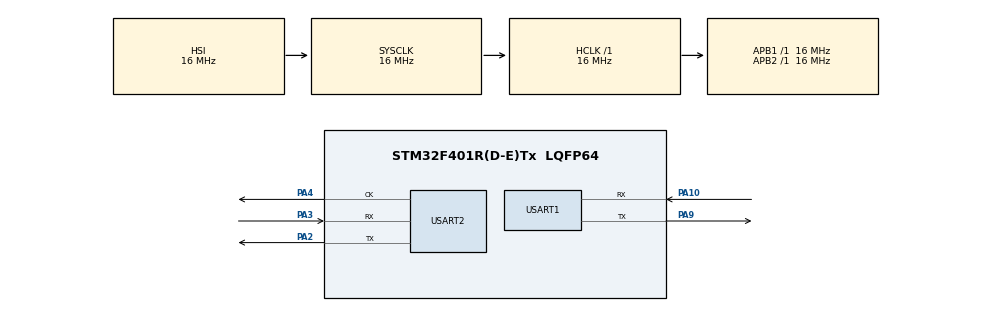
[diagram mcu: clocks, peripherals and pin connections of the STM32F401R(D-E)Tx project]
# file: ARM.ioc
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Dma.Request0=USART1_RX
Dma.Request1=USART1_TX
Dma.USART1_RX.0.Direction=DMA_PERIPH_TO_MEMORY
Dma.USART1_RX.0.FIFOMode=DMA_FIFOMODE_DISABLE
Dma.USART1_RX.0.Instance=DMA2_Stream2
Dma.USART1_RX.0.MemDataAlignment=DMA_MDATAALIGN_BYTE
Dma.USART1_RX.0.MemInc=DMA_MINC_ENABLE
Dma.USART1_RX.0.Mode=DMA_NORMAL
Dma.USART1_RX.0.PeriphDataAlignment=DMA_PDATAALIGN_BYTE
Dma.USART1_RX.0.PeriphInc=DMA_PINC_DISABLE
Dma.USART1_RX.0.Priority=DMA_PRIORITY_LOW
Dma.USART1_TX.1.Direction=DMA_MEMORY_TO_PERIPH
Dma.USART1_TX.1.FIFOMode=DMA_FIFOMODE_DISABLE
Dma.USART1_TX.1.Instance=DMA2_Stream7
Dma.USART1_TX.1.MemDataAlignment=DMA_MDATAALIGN_BYTE
Dma.USART1_TX.1.MemInc=DMA_MINC_ENABLE
Dma.USART1_TX.1.Mode=DMA_NORMAL
Dma.USART1_TX.1.PeriphDataAlignment=DMA_PDATAALIGN_BYTE
Dma.USART1_TX.1.PeriphInc=DMA_PINC_DISABLE
Dma.USART1_TX.1.Priority=DMA_PRIORITY_LOW
Mcu.Family=STM32F4
Mcu.Name=STM32F401R(D-E)Tx
Mcu.Package=LQFP64
NVIC.DMA2_Stream2_IRQn=true\:0\:0\:false\:false\:true\:false\:true
NVIC.DMA2_Stream7_IRQn=true\:0\:0\:false\:false\:true\:false\:true
NVIC.PriorityGroup=NVIC_PRIORITYGROUP_4
NVIC.USART1_IRQn=true\:0\:0\:false\:false\:true\:true\:true
PA10.Mode=Asynchronous
PA10.Signal=USART1_RX
PA2.Mode=Synchronous
PA2.Signal=USART2_TX
PA3.Mode=Synchronous
PA3.Signal=USART2_RX
PA4.Mode=Synchronous
PA4.Signal=USART2_CK
PA9.Mode=Asynchronous
PA9.Signal=USART1_TX
ProjectManager.HeapSize=0x200
ProjectManager.StackSize=0x400
ProjectManager.TargetToolchain=STM32CubeIDE
RCC.AHBFreq_Value=16000000
RCC.APB1Freq_Value=16000000
RCC.APB2Freq_Value=16000000
RCC.CortexFreq_Value=16000000
RCC.HSE_VALUE=25000000
RCC.HSI_VALUE=16000000
RCC.LSE_VALUE=32768
RCC.SYSCLKFreq_VALUE=16000000
RCC.VCOOutputFreq_Value=192000000
USART1.VirtualMode=VM_ASYNC
USART2.VirtualMode=VM_SYNC
board=custom

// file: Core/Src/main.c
/* USER CODE BEGIN Header */
/**
 ******************************************************************************
 * @file                     : main.c
 * @brief                    : Main program body
 ******************************************************************************
 * @attention
 *
 * <h2><center>&copy; Copyright (c) 2020 STMicroelectronics.
 * All rights reserved.</center></h2>
 *
 * This software component is licensed by ST under BSD 3-Clause license,
 * the "License"; You may not use this file except in compliance with the
 * License. You may obtain a copy of the License at:
 *                                                opensource.org/licenses/BSD-3-Clause
 *
 ******************************************************************************
 */
/* USER CODE END Header */
#include "main.h"

/* USER CODE BEGIN PD */
# define PROGRAM_RAM 0x20000000
# define PROGRAM_FLASH 0x8004000
# define PROGRAM_HASH_SIZE 256
/* USER CODE END PD */

UART_HandleTypeDef huart1;
USART_HandleTypeDef husart2;
DMA_HandleTypeDef hdma_usart1_rx;
DMA_HandleTypeDef hdma_usart1_tx;

void SystemClock_Config(void);
static void MX_GPIO_Init(void);
static void MX_DMA_Init(void);
static void MX_USART1_UART_Init(void);
static void MX_USART2_Init(void);

/* USER CODE BEGIN 0 */
int sending;
void HAL_UART_TxCpltCallback(UART_HandleTypeDef *huart)
{
	sending = 0;
}

/// State of bootlader State Machine
unsigned task;
void HAL_UART_RxCpltCallback(UART_HandleTypeDef *huart)
{
	task++;
}
/* USER CODE END 0 */

int main(void)
{

  /* MCU Configuration--------------------------------------------------------*/

  /* Reset of all peripherals, Initializes the Flash interface and the Systick. */
  HAL_Init();

  /* Configure the system clock */
  SystemClock_Config();

  /* Initialize all configured peripherals */
  MX_GPIO_Init();
  MX_DMA_Init();
  MX_USART1_UART_Init();
  MX_USART2_Init();

  /* Infinite loop */
  /* USER CODE BEGIN WHILE */
    while (1)
    {
    	// Reinit DMA State Machine
    	task = 0;

    	// Receive and write the program
        unsigned size;
        HAL_UART_Receive_DMA(&huart1, (unsigned char*) &size, sizeof(unsigned));
        while (task == 0);

        // Dump the program in ram
        unsigned* program_ram = (unsigned*) PROGRAM_RAM;
        HAL_UART_Receive_DMA(&huart1, (unsigned char*) program_ram, size);
        while (task == 1);

        unsigned char program_hash[PROGRAM_HASH_SIZE];
        HAL_UART_Receive_DMA(&huart1, program_hash, PROGRAM_HASH_SIZE);
        while (task == 2);

        unsigned crc;
        HAL_UART_Receive_DMA(&huart1, (unsigned char*) &crc, sizeof(unsigned));
        while (task == 3);

        // TODO: Check CRC

        // TODO: Check HASH

        // Write code in the flash
        unsigned program_flash = PROGRAM_FLASH;
        HAL_FLASH_Unlock();

        uint32_t err;
        FLASH_EraseInitTypeDef FLASH_Erase =
        {
        	.TypeErase = FLASH_TYPEERASE_SECTORS,
			.Sector = FLASH_SECTOR_2,
			.NbSectors = 2,
			.VoltageRange = FLASH_VOLTAGE_RANGE_3
        };
        HAL_FLASHEx_Erase(&FLASH_Erase, &err);
		while (FLASH->SR & FLASH_SR_BSY);
    	// Check for error ?

        for (int i = 0; i < size / sizeof(unsigned); i++)
        	HAL_FLASH_Program(FLASH_TYPEPROGRAM_WORD,
        					  program_flash + i * sizeof(unsigned),
							  program_ram[i]);
        HAL_FLASH_Lock();

        // Deactivate interruptions
        __disable_irq();

        // Deinit peripherals (TODO: forgot any ?)
        HAL_UART_DeInit(&huart1);
        HAL_USART_DeInit(&husart2);

        // Set Interruption Table (VTOR)
        SCB->VTOR = PROGRAM_FLASH;

        void (*program)(void);
        program = (void (*)(void)) PROGRAM_FLASH;

        // Set stack pointer
        __set_MSP(0);

        // Jump on the program
        program();

    /* USER CODE END WHILE */

    }
}

void SystemClock_Config(void)
{
  RCC_OscInitTypeDef RCC_OscInitStruct = {0};
  RCC_ClkInitTypeDef RCC_ClkInitStruct = {0};

  /** Configure the main internal regulator output voltage
  */
  __HAL_RCC_PWR_CLK_ENABLE();
  __HAL_PWR_VOLTAGESCALING_CONFIG(PWR_REGULATOR_VOLTAGE_SCALE2);
  /** Initializes the RCC Oscillators according to the specified parameters
  * in the RCC_OscInitTypeDef structure.
  */
  RCC_OscInitStruct.OscillatorType = RCC_OSCILLATORTYPE_HSI;
  RCC_OscInitStruct.HSIState = RCC_HSI_ON;
  RCC_OscInitStruct.HSICalibrationValue = RCC_HSICALIBRATION_DEFAULT;
  RCC_OscInitStruct.PLL.PLLState = RCC_PLL_NONE;
  if (HAL_RCC_OscConfig(&RCC_OscInitStruct) != HAL_OK)
  {
    Error_Handler();
  }
  /** Initializes the CPU, AHB and APB buses clocks
  */
  RCC_ClkInitStruct.ClockType = RCC_CLOCKTYPE_HCLK|RCC_CLOCKTYPE_SYSCLK
                              |RCC_CLOCKTYPE_PCLK1|RCC_CLOCKTYPE_PCLK2;
  RCC_ClkInitStruct.SYSCLKSource = RCC_SYSCLKSOURCE_HSI;
  RCC_ClkInitStruct.AHBCLKDivider = RCC_SYSCLK_DIV1;
  RCC_ClkInitStruct.APB1CLKDivider = RCC_HCLK_DIV1;
  RCC_ClkInitStruct.APB2CLKDivider = RCC_HCLK_DIV1;

  if (HAL_RCC_ClockConfig(&RCC_ClkInitStruct, FLASH_LATENCY_0) != HAL_OK)
  {
    Error_Handler();
  }
}

static void MX_USART1_UART_Init(void)
{

  huart1.Instance = USART1;
  huart1.Init.BaudRate = 115200;
  huart1.Init.WordLength = UART_WORDLENGTH_8B;
  huart1.Init.StopBits = UART_STOPBITS_1;
  huart1.Init.Parity = UART_PARITY_NONE;
  huart1.Init.Mode = UART_MODE_TX_RX;
  huart1.Init.HwFlowCtl = UART_HWCONTROL_NONE;
  huart1.Init.OverSampling = UART_OVERSAMPLING_16;
  if (HAL_UART_Init(&huart1) != HAL_OK)
  {
    Error_Handler();
  }

}

static void MX_USART2_Init(void)
{

  husart2.Instance = USART2;
  husart2.Init.BaudRate = 115200;
  husart2.Init.WordLength = USART_WORDLENGTH_8B;
  husart2.Init.StopBits = USART_STOPBITS_1;
  husart2.Init.Parity = USART_PARITY_NONE;
  husart2.Init.Mode = USART_MODE_TX_RX;
  husart2.Init.CLKPolarity = USART_POLARITY_LOW;
  husart2.Init.CLKPhase = USART_PHASE_1EDGE;
  husart2.Init.CLKLastBit = USART_LASTBIT_DISABLE;
  if (HAL_USART_Init(&husart2) != HAL_OK)
  {
    Error_Handler();
  }

}

static void MX_DMA_Init(void)
{

  /* DMA controller clock enable */
  __HAL_RCC_DMA2_CLK_ENABLE();

  /* DMA interrupt init */
  /* DMA2_Stream2_IRQn interrupt configuration */
  HAL_NVIC_SetPriority(DMA2_Stream2_IRQn, 0, 0);
  HAL_NVIC_EnableIRQ(DMA2_Stream2_IRQn);
  /* DMA2_Stream7_IRQn interrupt configuration */
  HAL_NVIC_SetPriority(DMA2_Stream7_IRQn, 0, 0);
  HAL_NVIC_EnableIRQ(DMA2_Stream7_IRQn);

}

static void MX_GPIO_Init(void)
{

  /* GPIO Ports Clock Enable */
  __HAL_RCC_GPIOA_CLK_ENABLE();

}

void Error_Handler(void)
{
    __disable_irq();
    while (1)
    {
    }
}

/************************ (C) COPYRIGHT STMicroelectronics *****END OF FILE****/
